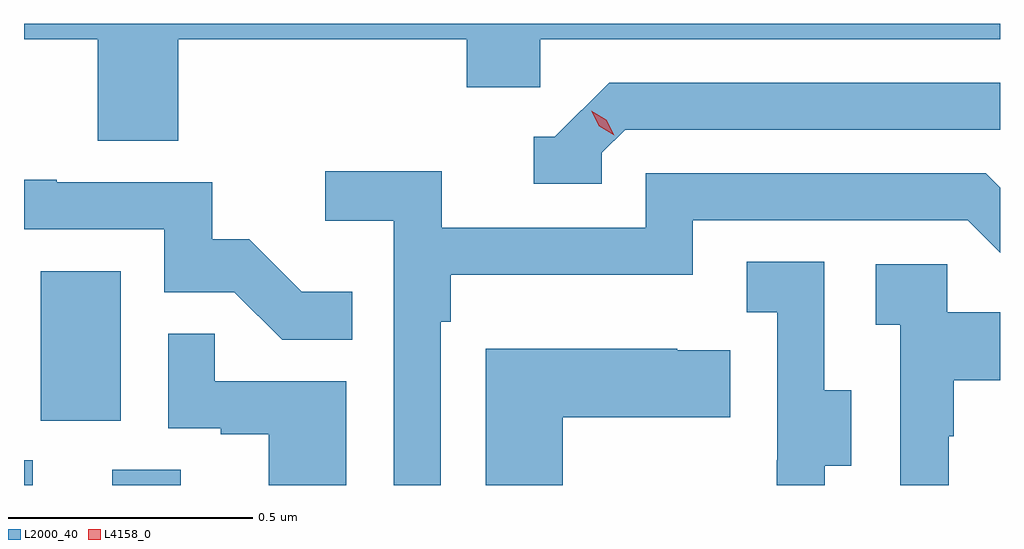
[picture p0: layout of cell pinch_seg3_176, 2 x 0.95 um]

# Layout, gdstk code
import gdstk
lib = gdstk.Library(unit=1e-6, precision=1e-09)
def R(c, l, rs):  # rectangles x0, y0, x1, y1
    for r in rs: c.add(gdstk.rectangle(r[:2], r[2:], *l))
def P(c, l, *ps):  # polygons
    for p in ps: c.add(gdstk.Polygon(p, *l))
L2000_40 = (2000, 40)
L4158_0 = (4158, 0)

pinch_seg3_176 = lib.new_cell('pinch_seg3_176')
R(pinch_seg3_176, L2000_40, [(995.566,747.954,995.584,748.005), (995.747,747.954,995.887,747.986), (995.6,748.086,995.764,748.393)])
P(pinch_seg3_176, L2000_40, [(995.882,748.868),(996.473,748.868),(996.473,748.77),(996.624,748.77),(996.624,748.868),(997.566,748.868),(997.566,748.9),(995.566,748.9),(995.566,748.868),(995.717,748.868),(995.717,748.66),(995.882,748.66)],
  [(996.75,748.635),(996.798,748.683),(997.566,748.683),(997.566,748.779),(996.765,748.779),(996.654,748.668),(996.611,748.668),(996.611,748.572),(996.75,748.572)],
  [(996.42,748.289),(996.44,748.289),(996.44,748.385),(996.936,748.385),(996.936,748.497),(997.5,748.497),(997.566,748.431),(997.566,748.564),(997.537,748.593),(996.84,748.593),(996.84,748.482),(996.422,748.482),(996.422,748.598),(996.183,748.598),(996.183,748.496),(996.324,748.496),(996.324,747.954),(996.42,747.954)],
  [(996.239,748.351),(996.135,748.351),(996.028,748.458),(995.952,748.458),(995.952,748.575),(995.633,748.575),(995.633,748.58),(995.566,748.58),(995.566,748.479),(995.853,748.479),(995.853,748.35),(995.997,748.35),(996.095,748.252),(996.239,748.252)],
  [(997.207,747.994),(997.261,747.994),(997.261,748.149),(997.206,748.149),(997.206,748.412),(997.047,748.412),(997.047,748.309),(997.11,748.309),(997.11,748.005),(997.109,748.005),(997.109,747.954),(997.207,747.954)],
  [(997.461,748.055),(997.471,748.055),(997.471,748.169),(997.566,748.169),(997.566,748.309),(997.458,748.309),(997.458,748.407),(997.311,748.407),(997.311,748.283),(997.362,748.283),(997.362,747.954),(997.461,747.954)],
  [(996.226,748.167),(995.957,748.167),(995.957,748.265),(995.862,748.265),(995.862,748.071),(995.969,748.071),(995.969,748.059),(996.068,748.059),(996.068,747.954),(996.226,747.954)],
  [(996.67,748.094),(997.013,748.094),(997.013,748.231),(996.905,748.231),(996.905,748.234),(996.512,748.234),(996.512,747.954),(996.67,747.954)])
P(pinch_seg3_176, L4158_0, [(996.776,748.671),(996.745,748.69),(996.728,748.722),(996.728,748.722),(996.728,748.722),(996.759,748.703),(996.776,748.671),(996.776,748.671)])

lib.write_gds('pinch_seg3_176.gds')
